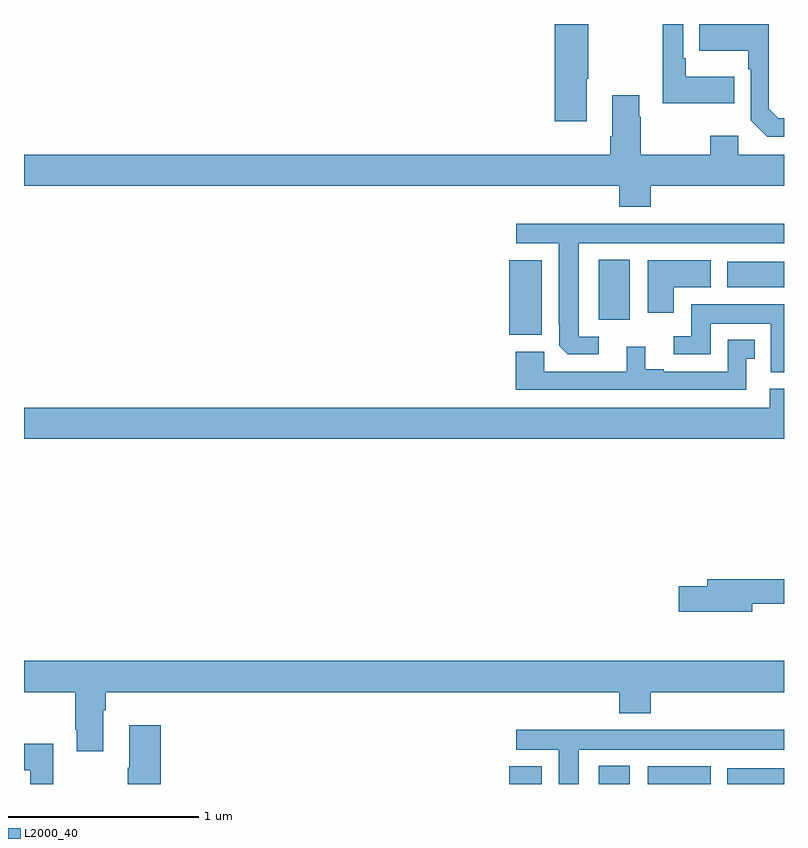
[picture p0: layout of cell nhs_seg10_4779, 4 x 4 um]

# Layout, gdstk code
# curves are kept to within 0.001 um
import gdstk
lib = gdstk.Library(unit=1e-6, precision=1e-09)
def R(c, l, rs):  # rectangles x0, y0, x1, y1
    for r in rs: c.add(gdstk.rectangle(r[:2], r[2:], *l))
def P(c, l, *ps):  # polygons
    for p in ps: c.add(gdstk.Polygon(p, *l))
L2000_40 = (2000, 40)

nhs_seg10_4779 = lib.new_cell('nhs_seg10_4779')
R(nhs_seg10_4779, L2000_40, [(387.554,1298.5,387.724,1298.593), (388.025,1298.5,388.189,1298.596), (388.283,1298.5,388.615,1298.593), (388.7,1298.5,389,1298.584), (387.554,1300.865,387.724,1301.257), (388.025,1300.944,388.189,1301.26), (388.7,1301.114,389,1301.248)])
P(nhs_seg10_4779, L2000_40, [(389,1302.003),(388.971,1302.003),(388.92,1302.054),(388.92,1302.5),(388.555,1302.5),(388.555,1302.359),(388.812,1302.359),(388.812,1302.263),(388.824,1302.263),(388.824,1301.994),(388.911,1301.907),(389,1301.907)],
  [(388.739,1302.223),(388.483,1302.223),(388.483,1302.319),(388.47,1302.319),(388.47,1302.5),(388.373,1302.5),(388.373,1302.499),(388.362,1302.499),(388.362,1302.083),(388.739,1302.083)],
  [(387.961,1302.211),(387.969,1302.211),(387.969,1302.5),(387.794,1302.5),(387.794,1301.988),(387.961,1301.988)],
  [(388.298,1301.648),(389,1301.648),(389,1301.812),(388.758,1301.812),(388.758,1301.911),(388.612,1301.911),(388.612,1301.812),(388.245,1301.812),(388.245,1302.011),(388.237,1302.011),(388.237,1302.124),(388.097,1302.124),(388.097,1301.908),(388.085,1301.908),(388.085,1301.812),(385,1301.812),(385,1301.648),(388.133,1301.648),(388.133,1301.537),(388.298,1301.537)],
  [(388.024,1300.854),(387.919,1300.854),(387.919,1301.345),(389,1301.345),(389,1301.449),(387.591,1301.449),(387.591,1301.345),(387.815,1301.345),(387.816,1300.807),(387.862,1300.761),(388.024,1300.761)],
  [(388.42,1301.114),(388.615,1301.114),(388.615,1301.257),(388.283,1301.257),(388.283,1300.98),(388.42,1300.98)],
  [(389,1301.026),(388.511,1301.026),(388.511,1300.857),(388.419,1300.857),(388.419,1300.761),(388.615,1300.761),(388.615,1300.922),(388.931,1300.922),(388.931,1300.667),(389,1300.667)],
  [(388.8,1300.737),(388.846,1300.737),(388.846,1300.837),(388.704,1300.837),(388.704,1300.671),(388.366,1300.671),(388.366,1300.684),(388.27,1300.684),(388.27,1300.801),(388.172,1300.801),(388.172,1300.671),(387.738,1300.671),(387.738,1300.774),(387.587,1300.774),(387.587,1300.575),(388.8,1300.575)],
  [(389,1300.579),(388.925,1300.579),(388.925,1300.48),(385,1300.48),(385,1300.316),(389,1300.316)],
  [(388.834,1299.45),(389,1299.45),(389,1299.578),(388.595,1299.578),(388.595,1299.542),(388.446,1299.542),(388.446,1299.407),(388.834,1299.407)],
  [(385.417,1298.888),(385.43,1298.888),(385.43,1298.984),(388.133,1298.984),(388.133,1298.873),(388.298,1298.873),(388.298,1298.984),(389,1298.984),(389,1299.148),(385,1299.148),(385,1298.984),(385.27,1298.984),(385.27,1298.785),(385.277,1298.785),(385.277,1298.673),(385.417,1298.673)],
  [(385.721,1298.809),(385.553,1298.809),(385.553,1298.585),(385.546,1298.585),(385.546,1298.5),(385.721,1298.5)],
  [(387.919,1298.681),(389,1298.681),(389,1298.785),(387.591,1298.785),(387.591,1298.681),(387.815,1298.681),(387.815,1298.5),(387.919,1298.5)],
  [(385.153,1298.713),(385,1298.713),(385,1298.573),(385.032,1298.573),(385.032,1298.5),(385.153,1298.5)])

lib.write_gds('nhs_seg10_4779.gds')
